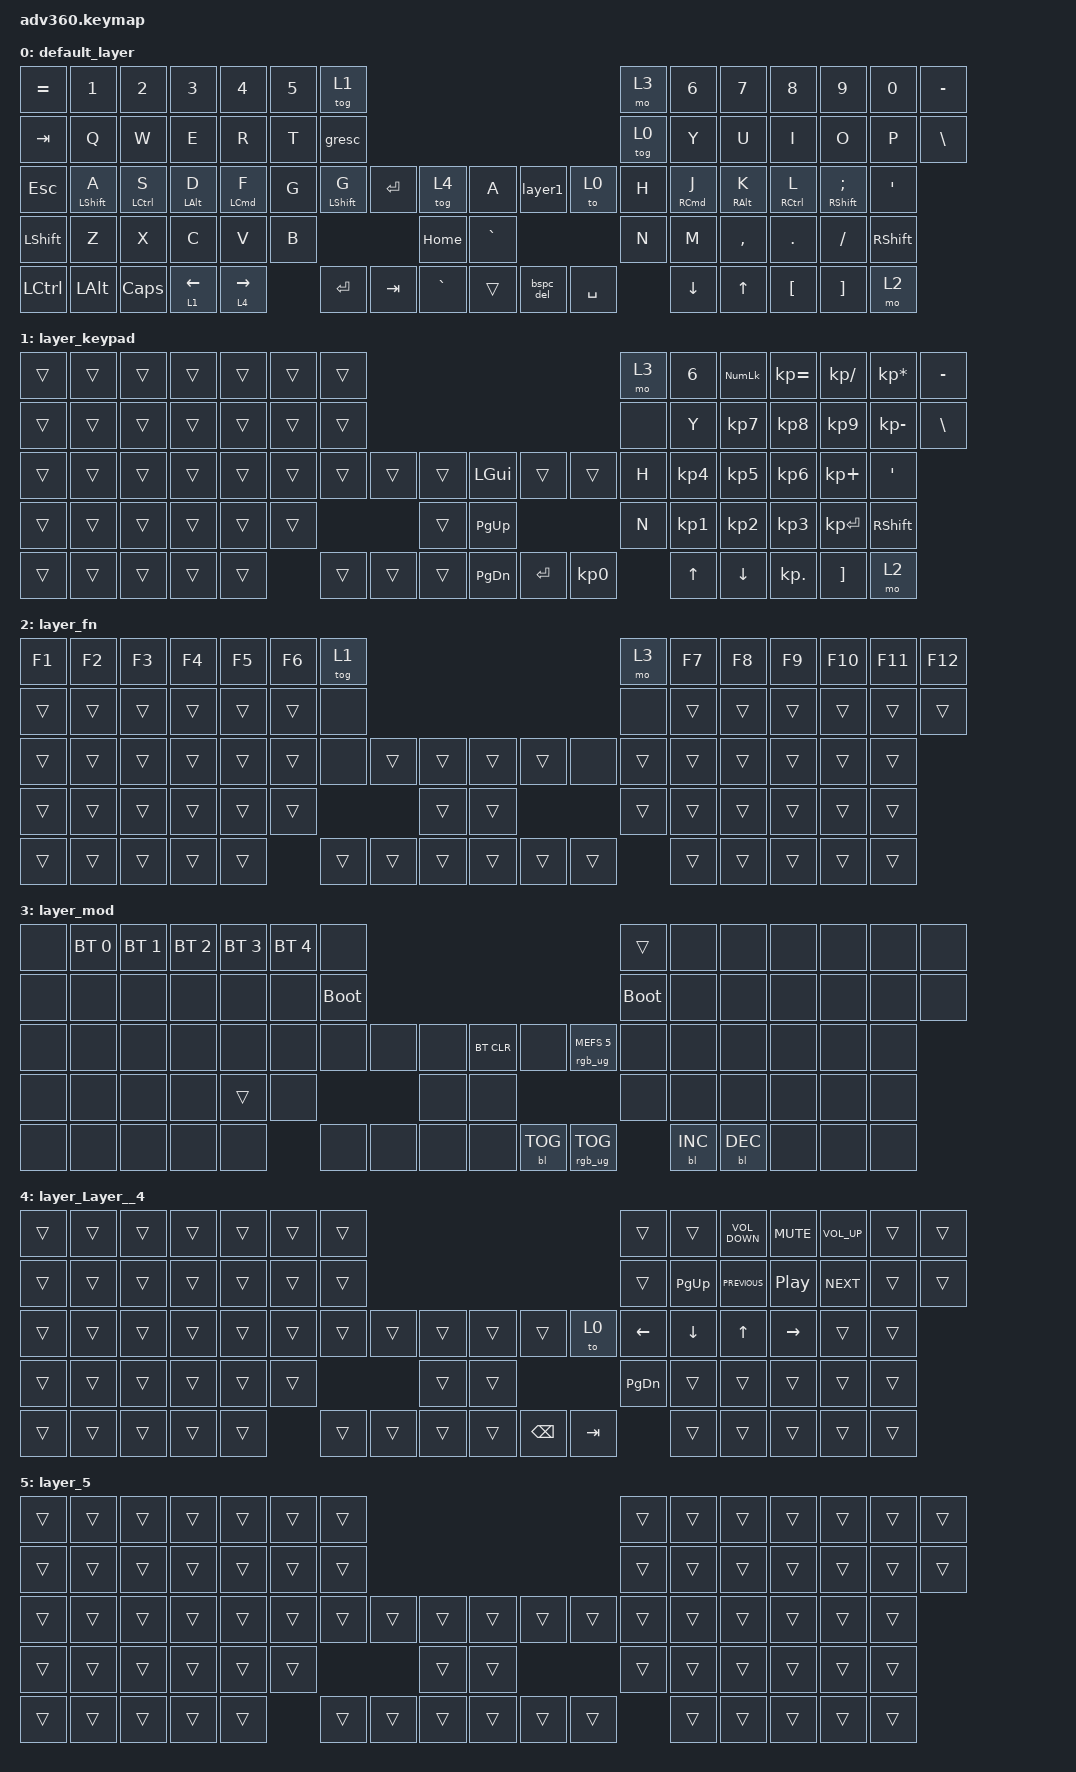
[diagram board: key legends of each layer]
/*
 * Copyright (c) 2020 The ZMK Contributors
 *
 * SPDX-License-Identifier: MIT
 */
/* THIS FILE WAS GENERATED!
 *
 * This file was generated automatically. You may or may not want to
 * edit it directly.
 */

#include <behaviors.dtsi>
#include <dt-bindings/zmk/backlight.h>
#include <dt-bindings/zmk/bt.h>
#include <dt-bindings/zmk/keys.h>
#include <dt-bindings/zmk/rgb.h>

/ {
    behaviors {
        #include "macros.dtsi"
    #include "version.dtsi"

        hm: homerow_mods {
            compatible = "zmk,behavior-hold-tap";
            label = "HOMEROW_MODS";
            #binding-cells = <2>;
            tapping-term-ms = <200>;
            quick_tap_ms = <175>;
            flavor = "tap-preferred";
            bindings = <&kp>, <&kp>;
        };

        hm_ex: homerow_mods_extended {
            compatible = "zmk,behavior-hold-tap";
            label = "HOMEROW_MODS_EXTENDED";
            #binding-cells = <2>;
            tapping-term-ms = <275>;
            quick_tap_ms = <175>;
            flavor = "tap-preferred";
            bindings = <&kp>, <&kp>;
        };

        mo_kp: behavior_mo_kp {
            compatible = "zmk,behavior-hold-tap";
            #binding-cells = <2>;
            flavor = "hold-preferred";
            tapping-term-ms = <200>;
            bindings = <&mo>, <&kp>;
        };

        layer1: layer1 {
            compatible = "zmk,behavior-tap-dance";
            label = "LAYER1";
            #binding-cells = <0>;
            bindings = <&sl 1>, <&tog 1>;
        };

        layer4: layer4 {
            compatible = "zmk,behavior-tap-dance";
            label = "LAYER4";
            #binding-cells = <0>;
            bindings = <&sl 4>, <&tog 4>;
        };

        bspc_del: backspace_delete {
            compatible = "zmk,behavior-mod-morph";
            #binding-cells = <0>;
            bindings = <&kp BACKSPACE>, <&kp DELETE>;

            mods = <(MOD_LSFT|MOD_RSFT)>;
            keep-mods = <(MOD_RSFT)>;
        };
    };

    combos { compatible = "zmk,combos"; };

    keymap {
        compatible = "zmk,keymap";

        default_layer {
            bindings = <
&kp EQUAL         &kp N1            &kp N2              &kp N3          &kp N4              &kp N5      &tog 1                                                            &mo 3      &kp N6  &kp N7               &kp N8           &kp N9               &kp N0                &kp MINUS
&kp TAB           &kp Q             &kp W               &kp E           &kp R               &kp T       &gresc                                                            &tog 0     &kp Y   &kp U                &kp I            &kp O                &kp P                 &kp BSLH
&kp ESC           &hm LEFT_SHIFT A  &hm_ex LEFT_CONTROL S  &hm_ex LEFT_ALT D  &hm_ex LEFT_COMMAND F  &kp G  &mt LEFT_SHIFT G  &kp ENTER  &tog 4         &kp A      &layer1    &to 0      &kp H   &hm_ex RIGHT_COMMAND J  &hm_ex RIGHT_ALT K  &hm_ex RIGHT_CONTROL L  &hm RIGHT_SHIFT SEMI  &kp SQT
&kp LSHFT         &kp Z             &kp X               &kp C           &kp V               &kp B                                    &kp HOME       &kp GRAVE                        &kp N   &kp M                &kp COMMA        &kp DOT              &kp FSLH              &kp RSHFT
&kp LEFT_CONTROL  &kp LEFT_ALT      &kp CAPS            &mo_kp 1 LEFT        &mo_kp 4 RIGHT                       &kp ENTER         &kp TAB    &kp GRAVE      &trans     &bspc_del  &kp SPACE          &kp DOWN             &kp UP_ARROW     &kp LBKT             &kp RBKT              &mo 2
            >;
        };

        layer_keypad {
            bindings = <
&trans  &trans  &trans  &trans  &trans  &trans  &trans                                                   &mo 3      &kp N6  &kp KP_NUM  &kp KP_EQUAL  &kp KP_DIVIDE  &kp KP_MULTIPLY  &kp MINUS
&trans  &trans  &trans  &trans  &trans  &trans  &trans                                                    &none      &kp Y   &kp KP_N7   &kp KP_N8     &kp KP_N9      &kp KP_MINUS     &kp BSLH
&trans  &trans  &trans  &trans  &trans  &trans  &trans  &trans  &trans      &kp LGUI   &trans     &trans     &kp H   &kp KP_N4   &kp KP_N5     &kp KP_N6      &kp KP_PLUS      &kp SQT
&trans  &trans  &trans  &trans  &trans  &trans                  &trans      &kp PG_UP                        &kp N   &kp KP_N1   &kp KP_N2     &kp KP_N3      &kp KP_ENTER     &kp RSHFT
&trans  &trans  &trans  &trans  &trans          &trans  &trans  &trans      &kp PG_DN  &kp ENTER  &kp KP_N0          &kp UP      &kp DOWN      &kp KP_DOT     &kp RBKT         &mo 2
            >;
        };

        layer_fn {
            bindings = <
&kp F1  &kp F2  &kp F3  &kp F4  &kp F5  &kp F6  &tog 1                                      &mo 3   &kp F7  &kp F8  &kp F9  &kp F10  &kp F11  &kp F12
&trans  &trans  &trans  &trans  &trans  &trans  &none                                       &none   &trans  &trans  &trans  &trans   &trans   &trans
&trans  &trans  &trans  &trans  &trans  &trans  &none   &trans  &trans      &trans  &trans  &none   &trans  &trans  &trans  &trans   &trans   &trans
&trans  &trans  &trans  &trans  &trans  &trans                  &trans      &trans                  &trans  &trans  &trans  &trans   &trans   &trans
&trans  &trans  &trans  &trans  &trans          &trans  &trans  &trans      &trans  &trans  &trans          &trans  &trans  &trans   &trans   &trans
            >;
        };

        layer_mod {
            bindings = <
&none  &bt BT_SEL 0  &bt BT_SEL 1  &bt BT_SEL 2  &bt BT_SEL 3  &bt BT_SEL 4  &none                                                  &trans                  &none  &none       &none       &none  &none  &none
&none  &none         &none         &none         &none         &none         &bootloader                                            &bootloader             &none  &none       &none       &none  &none  &none
&none  &none         &none         &none         &none         &none         &none        &none  &none      &bt BT_CLR  &none       &rgb_ug RGB_MEFS_CMD 5  &none  &none       &none       &none  &none  &none
&none  &none         &none         &none         &trans        &none                             &none      &none                                           &none  &none       &none       &none  &none  &none
&none  &none         &none         &none         &none                       &none        &none  &none      &none       &bl BL_TOG  &rgb_ug RGB_TOG                &bl BL_INC  &bl BL_DEC  &none  &none  &none
            >;
        };

        layer_Layer__4 {
            bindings = <
&trans  &trans  &trans  &trans  &trans  &trans  &trans                                             &trans   &trans     &kp C_VOLUME_DOWN  &kp C_MUTE        &kp C_VOLUME_UP  &trans  &trans
&trans  &trans  &trans  &trans  &trans  &trans  &trans                                             &trans   &kp PG_UP  &kp C_PREVIOUS     &kp C_PLAY_PAUSE  &kp C_NEXT       &trans  &trans
&trans  &trans  &trans  &trans  &trans  &trans  &trans  &trans  &trans      &trans  &trans         &to 0    &kp LEFT   &kp DOWN           &kp UP_ARROW      &kp RIGHT        &trans  &trans
&trans  &trans  &trans  &trans  &trans  &trans                  &trans      &trans                          &kp PG_DN    &trans             &trans            &trans           &trans  &trans
&trans  &trans  &trans  &trans  &trans          &trans  &trans  &trans      &trans  &kp BACKSPACE  &kp TAB             &trans             &trans            &trans           &trans  &trans
            >;
        };

        layer_5 {
            bindings = <
&trans  &trans  &trans  &trans  &trans  &trans  &trans                                      &trans  &trans  &trans  &trans  &trans  &trans  &trans
&trans  &trans  &trans  &trans  &trans  &trans  &trans                                      &trans  &trans  &trans  &trans  &trans  &trans  &trans
&trans  &trans  &trans  &trans  &trans  &trans  &trans  &trans  &trans      &trans  &trans  &trans  &trans  &trans  &trans  &trans  &trans  &trans
&trans  &trans  &trans  &trans  &trans  &trans                  &trans      &trans                  &trans  &trans  &trans  &trans  &trans  &trans
&trans  &trans  &trans  &trans  &trans          &trans  &trans  &trans      &trans  &trans  &trans          &trans  &trans  &trans  &trans  &trans
            >;
        };
    };
};
